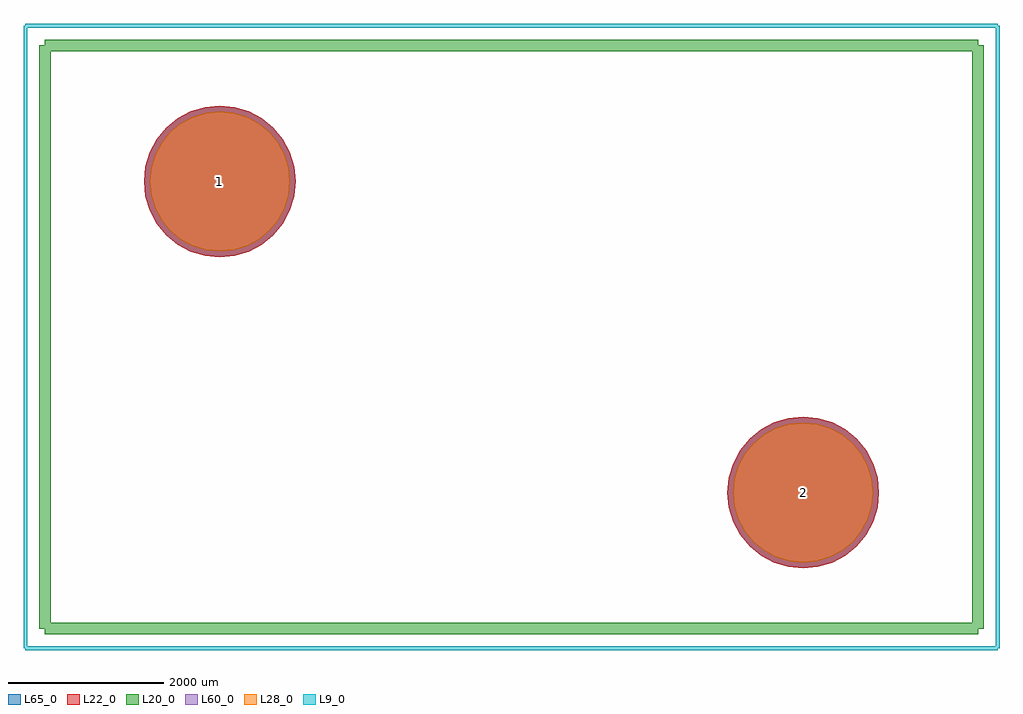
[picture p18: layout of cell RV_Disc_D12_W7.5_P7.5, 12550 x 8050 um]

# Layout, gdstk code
import gdstk
lib = gdstk.Library(unit=1e-6, precision=1e-09)
def P(c, l, *ps):  # polygons
    for p in ps: c.add(gdstk.Polygon(p, *l))
L9_0 = (9, 0)
L20_0 = (20, 0)
L22_0 = (22, 0)
L28_0 = (28, 0)
L60_0 = (60, 0)
L65_0 = (65, 0)

rv_disc_d12_w7_5_p7_5 = lib.new_cell('RV_Disc_D12_W7.5_P7.5')
P(rv_disc_d12_w7_5_p7_5, L22_0, [(8475,-4000),(8456.266,-3809.787),(8400.783,-3626.884),(8310.683,-3458.319),(8189.429,-3310.571),(8041.681,-3189.317),(7873.116,-3099.217),(7690.213,-3043.734),(7500,-3025),(7309.787,-3043.734),(7126.884,-3099.217),(6958.319,-3189.317),(6810.571,-3310.571),(6689.317,-3458.319),(6599.217,-3626.884),(6543.734,-3809.787),(6525,-4000),(6543.734,-4190.213),(6599.217,-4373.116),(6689.317,-4541.681),(6810.571,-4689.429),(6958.319,-4810.683),(7126.884,-4900.783),(7309.787,-4956.266),(7500,-4975),(7690.213,-4956.266),(7873.116,-4900.783),(8041.681,-4810.683),(8189.429,-4689.429),(8310.683,-4541.681),(8400.783,-4373.116),(8456.266,-4190.213)],
  [(975,0),(956.266,190.213),(900.783,373.116),(810.683,541.681),(689.429,689.429),(541.681,810.683),(373.116,900.783),(190.213,956.266),(0,975),(-190.213,956.266),(-373.116,900.783),(-541.681,810.683),(-689.429,689.429),(-810.683,541.681),(-900.783,373.116),(-956.266,190.213),(-975,0),(-956.266,-190.213),(-900.783,-373.116),(-810.683,-541.681),(-689.429,-689.429),(-541.681,-810.683),(-373.116,-900.783),(-190.213,-956.266),(0,-975),(190.213,-956.266),(373.116,-900.783),(541.681,-810.683),(689.429,-689.429),(810.683,-541.681),(900.783,-373.116),(956.266,-190.213)])
P(rv_disc_d12_w7_5_p7_5, L28_0, [(8400,-4000),(8382.707,-3824.419),(8331.492,-3655.585),(8248.323,-3499.987),(8136.396,-3363.604),(8000.013,-3251.677),(7844.415,-3168.508),(7675.581,-3117.293),(7500,-3100),(7324.419,-3117.293),(7155.585,-3168.508),(6999.987,-3251.677),(6863.604,-3363.604),(6751.677,-3499.987),(6668.508,-3655.585),(6617.293,-3824.419),(6600,-4000),(6617.293,-4175.581),(6668.508,-4344.415),(6751.677,-4500.013),(6863.604,-4636.396),(6999.987,-4748.323),(7155.585,-4831.492),(7324.419,-4882.707),(7500,-4900),(7675.581,-4882.707),(7844.415,-4831.492),(8000.013,-4748.323),(8136.396,-4636.396),(8248.323,-4500.013),(8331.492,-4344.415),(8382.707,-4175.581)],
  [(900,0),(882.707,175.581),(831.492,344.415),(748.323,500.013),(636.396,636.396),(500.013,748.323),(344.415,831.492),(175.581,882.707),(0,900),(-175.581,882.707),(-344.415,831.492),(-500.013,748.323),(-636.396,636.396),(-748.323,500.013),(-831.492,344.415),(-882.707,175.581),(-900,0),(-882.707,-175.581),(-831.492,-344.415),(-748.323,-500.013),(-636.396,-636.396),(-500.013,-748.323),(-344.415,-831.492),(-175.581,-882.707),(0,-900),(175.581,-882.707),(344.415,-831.492),(500.013,-748.323),(636.396,-636.396),(748.323,-500.013),(831.492,-344.415),(882.707,-175.581)])
P(rv_disc_d12_w7_5_p7_5, L60_0, [(8400,-4000),(8382.707,-3824.419),(8331.492,-3655.585),(8248.323,-3499.987),(8136.396,-3363.604),(8000.013,-3251.677),(7844.415,-3168.508),(7675.581,-3117.293),(7500,-3100),(7324.419,-3117.293),(7155.585,-3168.508),(6999.987,-3251.677),(6863.604,-3363.604),(6751.677,-3499.987),(6668.508,-3655.585),(6617.293,-3824.419),(6600,-4000),(6617.293,-4175.581),(6668.508,-4344.415),(6751.677,-4500.013),(6863.604,-4636.396),(6999.987,-4748.323),(7155.585,-4831.492),(7324.419,-4882.707),(7500,-4900),(7675.581,-4882.707),(7844.415,-4831.492),(8000.013,-4748.323),(8136.396,-4636.396),(8248.323,-4500.013),(8331.492,-4344.415),(8382.707,-4175.581)],
  [(900,0),(882.707,175.581),(831.492,344.415),(748.323,500.013),(636.396,636.396),(500.013,748.323),(344.415,831.492),(175.581,882.707),(0,900),(-175.581,882.707),(-344.415,831.492),(-500.013,748.323),(-636.396,636.396),(-748.323,500.013),(-831.492,344.415),(-882.707,175.581),(-900,0),(-882.707,-175.581),(-831.492,-344.415),(-748.323,-500.013),(-636.396,-636.396),(-500.013,-748.323),(-344.415,-831.492),(-175.581,-882.707),(0,-900),(175.581,-882.707),(344.415,-831.492),(500.013,-748.323),(636.396,-636.396),(748.323,-500.013),(831.492,-344.415),(882.707,-175.581)])
P(rv_disc_d12_w7_5_p7_5, L65_0, [(8475,-4000),(8456.266,-3809.787),(8400.783,-3626.884),(8310.683,-3458.319),(8189.429,-3310.571),(8041.681,-3189.317),(7873.116,-3099.217),(7690.213,-3043.734),(7500,-3025),(7309.787,-3043.734),(7126.884,-3099.217),(6958.319,-3189.317),(6810.571,-3310.571),(6689.317,-3458.319),(6599.217,-3626.884),(6543.734,-3809.787),(6525,-4000),(6543.734,-4190.213),(6599.217,-4373.116),(6689.317,-4541.681),(6810.571,-4689.429),(6958.319,-4810.683),(7126.884,-4900.783),(7309.787,-4956.266),(7500,-4975),(7690.213,-4956.266),(7873.116,-4900.783),(8041.681,-4810.683),(8189.429,-4689.429),(8310.683,-4541.681),(8400.783,-4373.116),(8456.266,-4190.213)],
  [(975,0),(956.266,190.213),(900.783,373.116),(810.683,541.681),(689.429,689.429),(541.681,810.683),(373.116,900.783),(190.213,956.266),(0,975),(-190.213,956.266),(-373.116,900.783),(-541.681,810.683),(-689.429,689.429),(-810.683,541.681),(-900.783,373.116),(-956.266,190.213),(-975,0),(-956.266,-190.213),(-900.783,-373.116),(-810.683,-541.681),(-689.429,-689.429),(-541.681,-810.683),(-373.116,-900.783),(-190.213,-956.266),(0,-975),(190.213,-956.266),(373.116,-900.783),(541.681,-810.683),(689.429,-689.429),(810.683,-541.681),(900.783,-373.116),(956.266,-190.213)])
rv_disc_d12_w7_5_p7_5.add(gdstk.FlexPath([(-2250,1750),(-2250,-5750)], 149.998, ends="flush", simple_path=True, layer=20, datatype=0))  # L20_0
rv_disc_d12_w7_5_p7_5.add(gdstk.FlexPath([(9750,1750),(9750,-5750)], 149.998, ends="flush", simple_path=True, layer=20, datatype=0))  # L20_0
rv_disc_d12_w7_5_p7_5.add(gdstk.FlexPath([(-2250,1750),(9750,1750)], 149.998, ends="flush", simple_path=True, layer=20, datatype=0))  # L20_0
rv_disc_d12_w7_5_p7_5.add(gdstk.FlexPath([(-2250,-5750),(9750,-5750)], 149.998, ends="flush", simple_path=True, layer=20, datatype=0))  # L20_0
rv_disc_d12_w7_5_p7_5.add(gdstk.FlexPath([(-2500,2000),(-2500,-6000)], 50, ends="flush", simple_path=True, layer=9, datatype=0))  # L9_0
rv_disc_d12_w7_5_p7_5.add(gdstk.FlexPath([(10000,2000),(10000,-6000)], 50, ends="flush", simple_path=True, layer=9, datatype=0))  # L9_0
rv_disc_d12_w7_5_p7_5.add(gdstk.FlexPath([(-2500,2000),(10000,2000)], 50, ends="flush", simple_path=True, layer=9, datatype=0))  # L9_0
rv_disc_d12_w7_5_p7_5.add(gdstk.FlexPath([(-2500,-6000),(10000,-6000)], 50, ends="flush", simple_path=True, layer=9, datatype=0))  # L9_0
rv_disc_d12_w7_5_p7_5.add(gdstk.Label('2', (7500,-4000), layer=28, texttype=0))
rv_disc_d12_w7_5_p7_5.add(gdstk.Label('1', (0,0), layer=28, texttype=0))
rv_disc_d12_w7_5_p7_5.add(gdstk.Label('type', (3750,2750), layer=9, texttype=0))
rv_disc_d12_w7_5_p7_5.add(gdstk.Label('devicename', (3750,-6750), layer=9, texttype=0))

lib.write_gds('RV_Disc_D12_W7.5_P7.5.gds')
